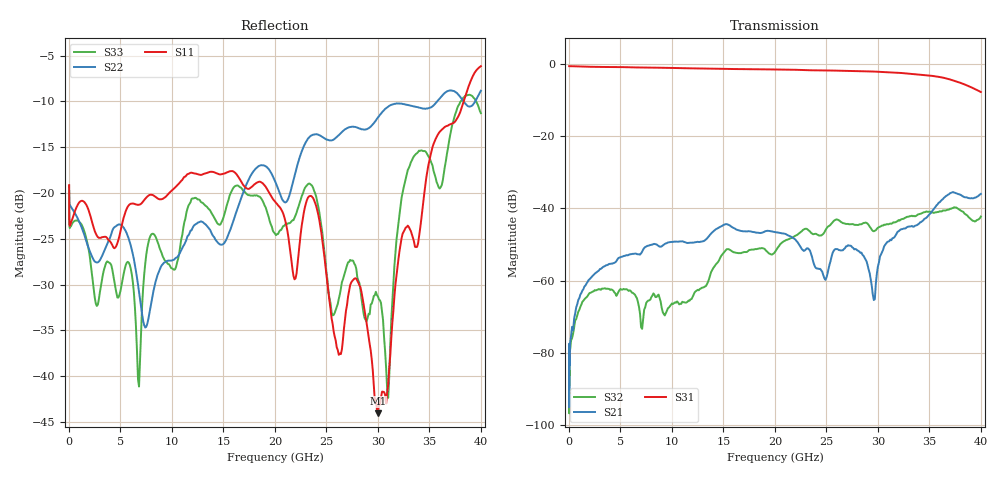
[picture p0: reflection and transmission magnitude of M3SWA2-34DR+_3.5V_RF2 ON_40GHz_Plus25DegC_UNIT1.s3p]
!Keysight Technologies,N5247B,MY61255066,A.15.50.07
!Date: Tuesday, August 29, 2023 14:14:59
!Correction: S11(C  3-Port  )
!S12(C  3-Port  )
!S13(C  3-Port  )
!S21(C  3-Port  )
!S22(C  3-Port  )
!S23(C  3-Port  )
!S31(C  3-Port  )
!S32(C  3-Port  )
!S33(C  3-Port  )
!S3P File: Measurements: <S11,S12,S13>,
!<S21,S22,S23>,
!<S31,S32,S33>:
!Deduct Board Loss
# Hz S  dB  R 50
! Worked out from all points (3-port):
!   409 points, 10 MHz to 40 GHz, reference 50 ohm
!   strongest paths, dB at 10 MHz, 9.4 GHz, 19.6 GHz, 29.8 GHz, 40 GHz:
!     S31: -0.5, -1.0, -1.4, -2.1, -7.7
!     S21: -77.6, -49.7, -46.3, -60.8, -36.0
!     S32: -86.0, -69.1, -52.7, -46.0, -42.2
!   lowest |S11| = -44.0 dB at 30 GHz (marker M1), VSWR 1.01, Z = 50.1 - j0.616 ohm
!   |S11| at or under -10 dB: start of sweep to 38.33 GHz
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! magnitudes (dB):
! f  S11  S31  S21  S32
! 10 MHz  -19.1  -0.5  -77.6  -86.0
! 1.5 GHz  -21.0  -0.7  -61.6  -65.2
! 4.9 GHz  -24.7  -0.8  -53.6  -62.7
! 6.8 GHz  -21.3  -0.9  -52.7  -67.4
! 7.4 GHz  -20.6  -0.9  -50.7  -67.4
! 20.1 GHz  -21.1  -1.5  -46.6  -51.7
! 30 GHz  -44.0  -2.1  -56.1  -45.3
! 31 GHz  -40.9  -2.2  -49.2  -44.4
! 33 GHz  -23.7  -2.6  -45.0  -42.3
! 40 GHz  -6.2  -7.7  -36.0  -42.2
